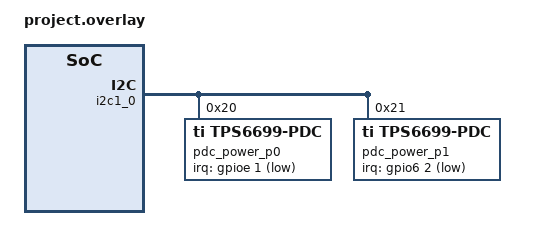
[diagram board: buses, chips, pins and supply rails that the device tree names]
/* Copyright 2025 The ChromiumOS Authors
 * Use of this source code is governed by a BSD-style license that can be
 * found in the LICENSE file.
 */

#include "../skywalker/project.overlay"

/delete-node/ &pdc_power_p0;
/delete-node/ &pdc_power_p1;

&i2c1_0 {
	pdc_power_p0: tps6699-pdc@20 {
		compatible = "ti,tps6699-pdc";
		reg = <0x20>;
		irq-gpios = <&gpioe 1 GPIO_ACTIVE_LOW>;
		ccd;
		port-index-on-chip = <0x1>;
		frs-supported;
	};
	pdc_power_p1: tps6699-pdc@21 {
		compatible = "ti,tps6699-pdc";
		reg = <0x21>;
		irq-gpios = <&gpio6 2 GPIO_ACTIVE_LOW>;
		port-index-on-chip = <0x1>;
		frs-supported;
	};
};
